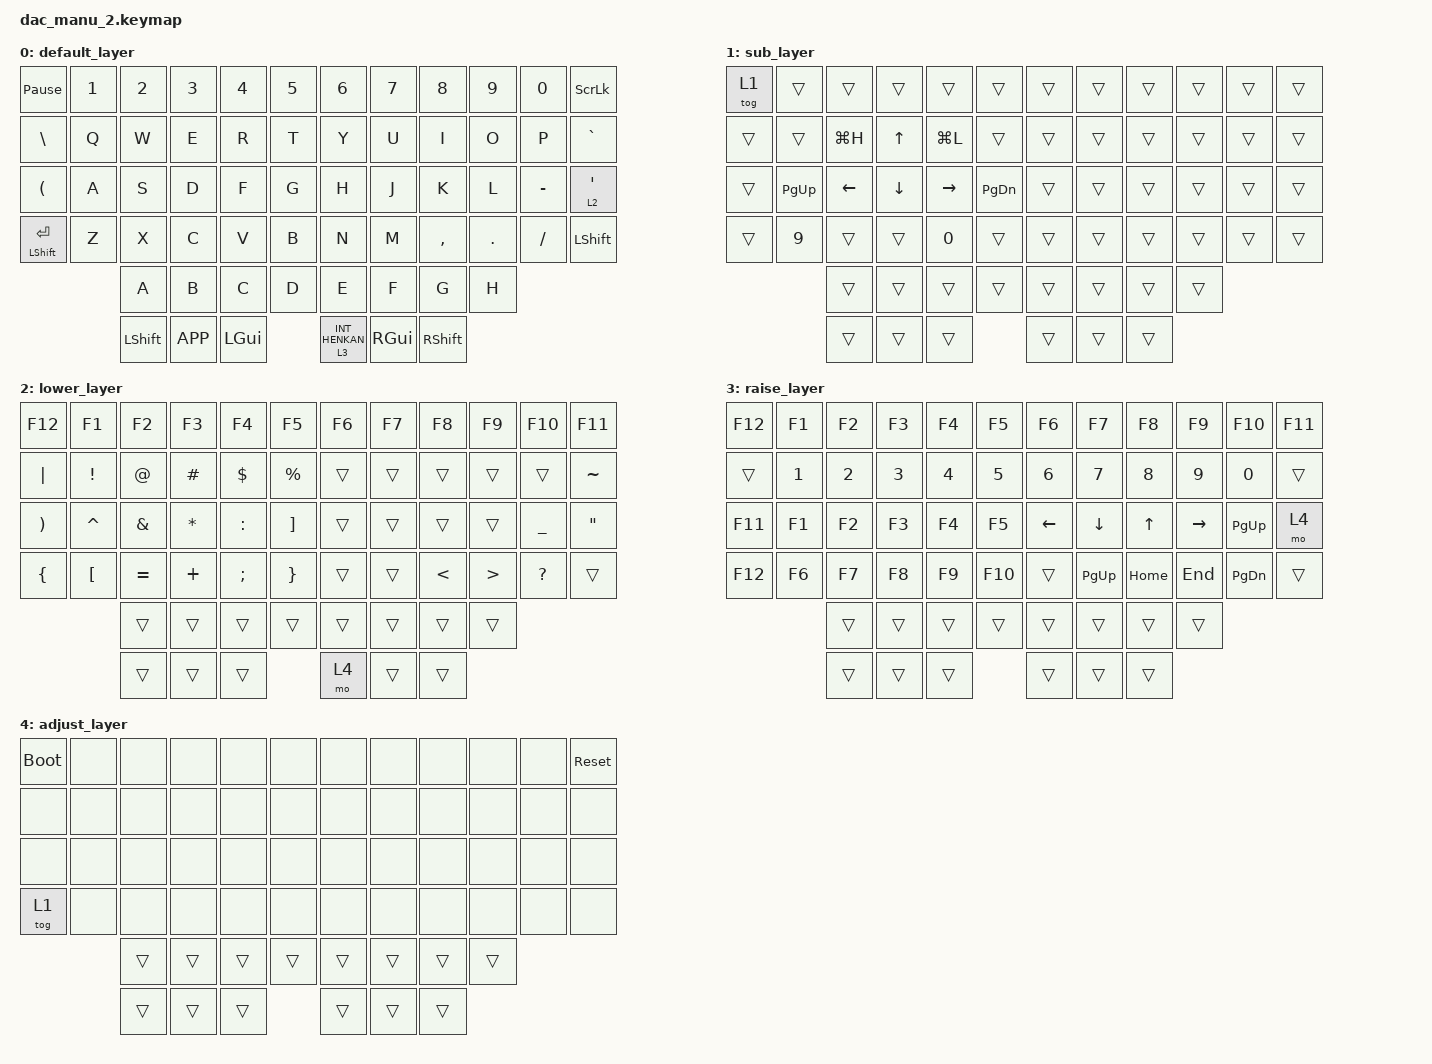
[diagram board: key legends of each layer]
#include <behaviors.dtsi>
#include <dt-bindings/zmk/keys.h>
#include <dt-bindings/zmk/bt.h>
#include <dt-bindings/zmk/outputs.h>
 
#define DEFAULT 0
#define SUB 1
#define LWER 2
#define UPPR 3
#define ADJ 4


/ {
    // Everything else goes here!
    keymap {
        compatible = "zmk,keymap";

        // Layer nodes go here!
	default_layer {
             bindings = <
&kp PAUSE_BREAK &kp N1   &kp N2    &kp N3    &kp N4     &kp N5           &kp N6              &kp N7   &kp N8    &kp N9    &kp N0   &kp SLCK
&kp BSLH        &kp Q    &kp W     &kp E     &kp R      &kp T            &kp Y               &kp U    &kp I     &kp O    &kp P     &kp GRAVE
&kp LPAR        &kp A    &kp S     &kp D     &kp F      &kp G            &kp H               &kp J    &kp K     &kp L    &kp MINUS &lt 2 SQT
&mt LSHFT ENTER &kp Z    &kp X     &kp C     &kp V      &kp B            &kp N               &kp M    &kp COMMA &kp DOT  &kp FSLH  &kp LSHFT
                         &kp A &kp B   &kp C    &kp D        &kp E        &kp F  &kp G  &kp H
                         &kp LSHFT &kp K_APP   &kp LGUI                  &lt 3 INT_HENKAN    &kp RGUI &kp RSHFT
			 >;
          };

         sub_layer {
             bindings = <
 &tog 1  &trans    &trans    &trans    &trans    &trans        &trans   &trans    &trans    &trans &trans &trans
 &trans    &trans    &kp LG(H) &kp UP    &kp LG(L) &trans        &trans   &trans    &trans    &trans &trans &trans
 &trans    &kp PG_UP  &kp LEFT  &kp DOWN  &kp RIGHT &kp PG_DN      &trans   &trans    &trans    &trans &trans &trans
 &trans    &kp N9    &trans    &trans    &kp N0    &trans        &trans   &trans    &trans    &trans &trans &trans
                     &trans    &trans    &trans    &trans        &trans   &trans    &trans    &trans
                               &trans    &trans    &trans        &trans   &trans    &trans 
             >;
         };
 
         lower_layer {
             bindings = <
 &kp F12   &kp F1    &kp F2    &kp F3    &kp F4    &kp F5        &kp F6   &kp F7    &kp F8    &kp F9  &kp F10 &kp F11  
 &kp PIPE  &kp EXCL  &kp AT    &kp HASH  &kp DLLR  &kp PRCNT     &trans   &trans    &trans    &trans  &trans  &kp TILDE
 &kp RPAR  &kp CARET &kp AMPS  &kp STAR  &kp COLON &kp RBKT      &trans   &trans    &trans    &trans  &kp UNDER  &kp DQT
 &kp LBRC  &kp LBKT  &kp EQUAL &kp PLUS  &kp SEMI  &kp RBRC      &trans   &trans    &kp LT    &kp GT  &kp QMARK  &trans 
                     &trans    &trans    &trans    &trans        &trans   &trans    &trans    &trans
                               &trans    &trans    &trans        &mo 4  &trans    &trans 
             >;
         };
 
         raise_layer {
             bindings = <
 &kp F12 &kp F1      &kp F2    &kp F3    &kp F4    &kp F5        &kp F6   &kp F7    &kp F8    &kp F9    &kp F10  &kp F11  
 &trans  &kp N1      &kp N2    &kp N3    &kp N4    &kp N5        &kp N6   &kp N7    &kp N8    &kp N9    &kp N0   &trans
 &kp F11 &kp F1      &kp F2    &kp F3    &kp F4    &kp F5        &kp LEFT &kp DOWN  &kp UP    &kp RIGHT &kp PG_UP &mo 4
 &kp F12 &kp F6      &kp F7    &kp F8    &kp F9    &kp F10       &trans   &kp PG_UP  &kp HOME  &kp END   &kp PG_DN &trans
                     &trans    &trans    &trans    &trans        &trans   &trans    &trans    &trans
                               &trans    &trans    &trans        &trans   &trans    &trans 
             >;
         };
	 adjust_layer {
	     bindings = <
&bootloader &none  &none  &none  &none  &none  &none  &none  &none  &none  &none  &sys_reset
&none       &none  &none  &none  &none  &none  &none  &none  &none  &none  &none  &none
&none       &none  &none  &none  &none  &none  &none  &none  &none  &none  &none  &none
&tog 1    &none  &none  &none  &none  &none  &none  &none  &none  &none  &none  &none
                  &trans  &trans &trans &trans &trans &trans &trans &trans
                          &trans &trans &trans &trans &trans &trans 
	     >;
    };
};
};


